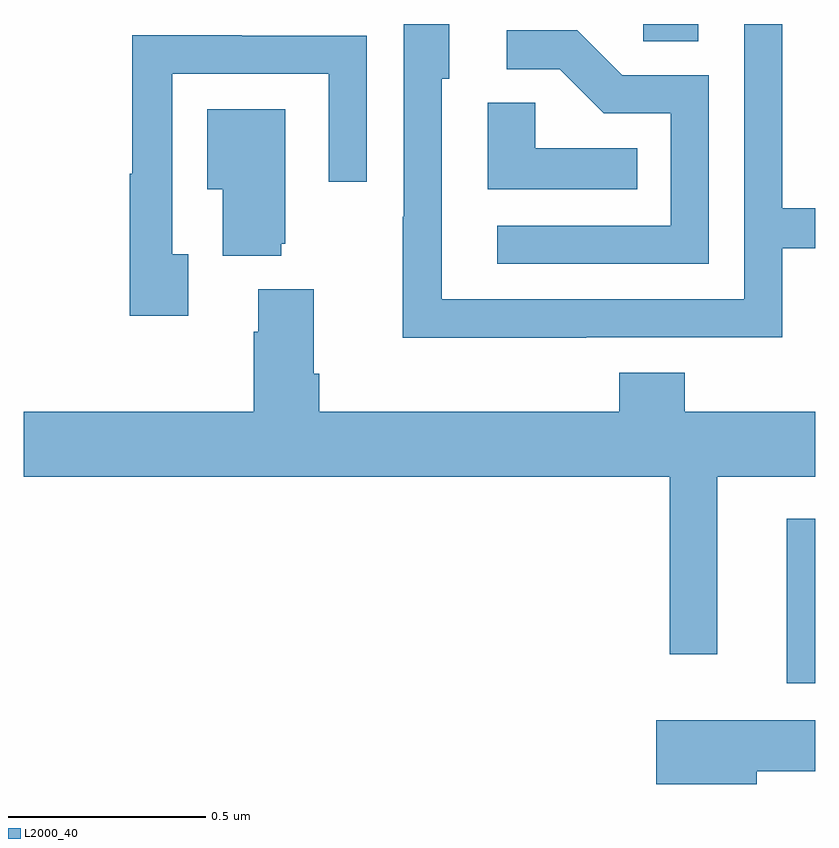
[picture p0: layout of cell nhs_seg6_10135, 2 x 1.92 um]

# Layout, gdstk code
import gdstk
lib = gdstk.Library(unit=1e-6, precision=1e-09)
def R(c, l, rs):  # rectangles x0, y0, x1, y1
    for r in rs: c.add(gdstk.rectangle(r[:2], r[2:], *l))
def P(c, l, *ps):  # polygons
    for p in ps: c.add(gdstk.Polygon(p, *l))
L2000_40 = (2000, 40)

nhs_seg6_10135 = lib.new_cell('nhs_seg6_10135')
R(nhs_seg6_10135, L2000_40, [(244.928,926.834,245,927.25), (244.566,928.456,244.705,928.5)])
P(nhs_seg6_10135, L2000_40, [(244.421,927.708),(244.917,927.708),(244.917,927.933),(245,927.933),(245,928.034),(244.917,928.034),(244.917,928.5),(244.821,928.5),(244.821,927.804),(244.056,927.804),(244.056,928.362),(244.075,928.362),(244.075,928.5),(243.96,928.5),(243.96,928.013),(243.958,928.013),(243.958,927.707),(244.421,927.707)],
  [(244.731,928.371),(244.512,928.371),(244.399,928.484),(244.221,928.484),(244.221,928.386),(244.355,928.386),(244.466,928.275),(244.635,928.275),(244.635,927.99),(244.197,927.99),(244.197,927.894),(244.731,927.894)],
  [(243.415,927.918),(243.375,927.918),(243.375,928.374),(243.771,928.374),(243.771,928.101),(243.867,928.101),(243.867,928.47),(243.551,928.47),(243.551,928.472),(243.274,928.472),(243.274,928.121),(243.267,928.121),(243.267,927.762),(243.415,927.762)],
  [(244.55,928.186),(244.293,928.186),(244.293,928.301),(244.172,928.301),(244.172,928.082),(244.55,928.082)],
  [(243.65,927.945),(243.661,927.945),(243.661,928.285),(243.464,928.285),(243.464,928.082),(243.503,928.082),(243.503,927.914),(243.65,927.914)],
  [(244.753,927.356),(245,927.356),(245,927.52),(244.67,927.52),(244.67,927.619),(244.505,927.619),(244.505,927.52),(243.746,927.52),(243.746,927.616),(243.733,927.616),(243.733,927.829),(243.593,927.829),(243.593,927.722),(243.581,927.722),(243.581,927.52),(243,927.52),(243,927.356),(244.632,927.356),(244.632,926.907),(244.753,926.907)],
  [(244.852,926.611),(245,926.611),(245,926.74),(244.598,926.74),(244.598,926.579),(244.852,926.579)])

lib.write_gds('nhs_seg6_10135.gds')
